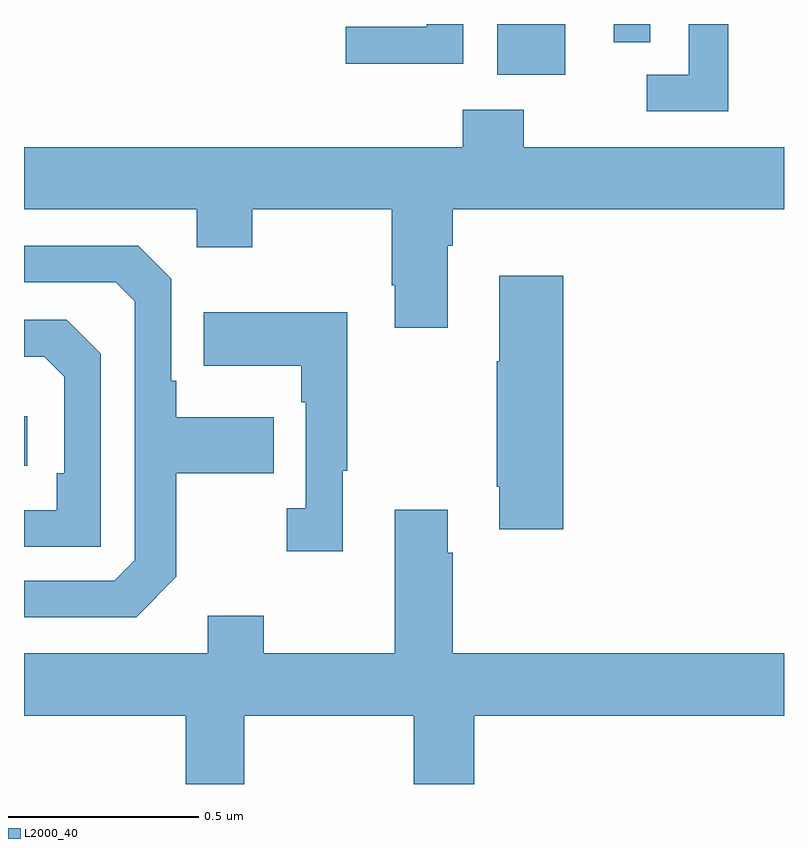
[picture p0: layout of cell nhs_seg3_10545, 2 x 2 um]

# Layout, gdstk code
import gdstk
lib = gdstk.Library(unit=1e-6, precision=1e-09)
def R(c, l, rs):  # rectangles x0, y0, x1, y1
    for r in rs: c.add(gdstk.rectangle(r[:2], r[2:], *l))
def P(c, l, *ps):  # polygons
    for p in ps: c.add(gdstk.Polygon(p, *l))
L2000_40 = (2000, 40)

nhs_seg3_10545 = lib.new_cell('nhs_seg3_10545')
R(nhs_seg3_10545, L2000_40, [(242,704.238,242.008,704.368), (243.245,705.266,243.424,705.4), (243.552,705.352,243.648,705.4)])
P(nhs_seg3_10545, L2000_40, [(243.853,705.4),(243.749,705.4),(243.749,705.267),(243.639,705.267),(243.639,705.171),(243.853,705.171)],
  [(243.156,705.4),(243.06,705.4),(243.06,705.393),(242.847,705.393),(242.847,705.295),(243.156,705.295)],
  [(243.115,704.816),(243.128,704.816),(243.128,704.912),(244,704.912),(244,705.076),(243.315,705.076),(243.315,705.175),(243.155,705.175),(243.155,705.076),(242,705.076),(242,704.912),(242.454,704.912),(242.454,704.813),(242.601,704.813),(242.601,704.912),(242.968,704.912),(242.968,704.713),(242.975,704.713),(242.975,704.601),(243.115,704.601)],
  [(242.401,703.945),(242.401,704.218),(242.657,704.218),(242.657,704.365),(242.401,704.365),(242.401,704.461),(242.388,704.461),(242.388,704.73),(242.301,704.817),(242,704.817),(242,704.721),(242.241,704.721),(242.292,704.67),(242.292,703.989),(242.238,703.935),(242,703.935),(242,703.839),(242.295,703.839)],
  [(243.419,704.737),(243.251,704.737),(243.251,704.513),(243.244,704.513),(243.244,704.182),(243.251,704.182),(243.251,704.07),(243.419,704.07)],
  [(242.839,704.225),(242.851,704.225),(242.851,704.641),(242.473,704.641),(242.473,704.501),(242.73,704.501),(242.73,704.405),(242.742,704.405),(242.742,704.126),(242.691,704.126),(242.691,704.013),(242.839,704.013)],
  [(242.202,704.532),(242.112,704.622),(242,704.622),(242,704.525),(242.053,704.525),(242.106,704.472),(242.106,704.218),(242.086,704.218),(242.086,704.121),(242,704.121),(242,704.025),(242.202,704.025)],
  [(242.58,703.58),(243.025,703.58),(243.025,703.4),(243.185,703.4),(243.185,703.58),(244,703.58),(244,703.744),(243.128,703.744),(243.128,704.009),(243.115,704.009),(243.115,704.122),(242.975,704.122),(242.975,703.744),(242.631,703.744),(242.631,703.843),(242.483,703.843),(242.483,703.744),(242,703.744),(242,703.58),(242.425,703.58),(242.425,703.4),(242.58,703.4)])

lib.write_gds('nhs_seg3_10545.gds')
